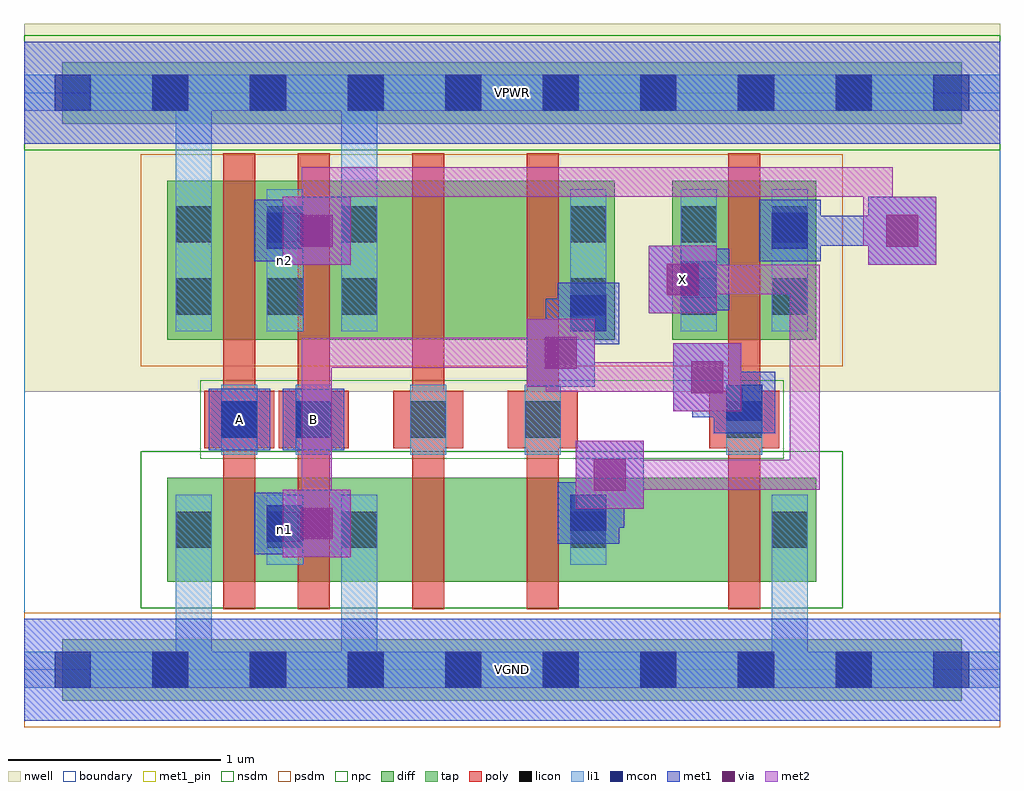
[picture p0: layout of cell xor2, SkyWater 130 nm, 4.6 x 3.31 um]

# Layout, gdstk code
import gdstk
lib = gdstk.Library(unit=1e-6, precision=1e-09)
def R(c, l, rs):  # rectangles x0, y0, x1, y1
    for r in rs: c.add(gdstk.rectangle(r[:2], r[2:], *l))
def A(c, l, x, y, w, h, nx, ny, dx, dy):  # array of equal rectangles
    R(c, l, [(x+i*dx, y+j*dy, x+i*dx+w, y+j*dy+h) for i in range(nx) for j in range(ny)])
nwell = (64, 20)
diff = (65, 20)
tap = (65, 44)
poly = (66, 20)
licon = (66, 44)
li1 = (67, 20)
mcon = (67, 44)
met1_pin = (68, 16)
met1 = (68, 20)
via = (68, 44)
met2 = (69, 20)
nsdm = (93, 44)
psdm = (94, 20)
npc = (95, 20)
boundary = (235, 4)

xor2 = lib.new_cell('xor2')
R(xor2, nwell, [(0,1.31,4.6,3.045)])
R(xor2, diff, [(0.675,0.415,3.735,0.905), (0.675,1.555,2.785,2.305), (3.055,1.555,3.735,2.305)])
R(xor2, tap, [(0.18,-0.145,4.42,0.145), (0.18,2.575,4.42,2.865)])
A(xor2, poly, 1.29, 0.285, 0.15, 2.15, 3, 1, 0.54, 0)
A(xor2, poly, 1.2, 1.045, 0.33, 0.27, 3, 1, 0.54, 0)
R(xor2, poly, [(0.94,0.285,1.09,2.435), (3.32,0.285,3.47,2.435), (0.85,1.045,1.18,1.315), (3.23,1.045,3.56,1.315)])
A(xor2, licon, 0.605, -0.085, 0.17, 0.17, 8, 2, 0.46, 2.72)
A(xor2, licon, 1.28, 1.095, 0.17, 0.17, 3, 1, 0.54, 0)
R(xor2, licon, [(0.715,0.575,0.885,0.745), (1.145,0.575,1.315,0.745), (1.495,0.575,1.665,0.745), (2.575,0.575,2.745,0.745), (3.525,0.575,3.695,0.745), (0.93,1.095,1.1,1.265), (3.31,1.095,3.48,1.265), (0.715,1.675,0.885,1.845), (1.145,1.675,1.315,1.845), (1.495,1.675,1.665,1.845), (2.575,1.675,2.745,1.845), (3.095,1.675,3.265,1.845), (3.525,1.675,3.695,1.845), (0.715,2.015,0.885,2.185), (1.145,2.015,1.315,2.185), (1.495,2.015,1.665,2.185), (2.575,2.015,2.745,2.185), (3.095,2.015,3.265,2.185), (3.525,2.015,3.695,2.185)])
A(xor2, li1, 1.28, 1.015, 0.17, 0.33, 3, 1, 0.54, 0)
R(xor2, li1, [(0,-0.085,4.6,0.085), (0.715,-0.085,0.885,0.825), (1.495,-0.085,1.665,0.825), (3.525,-0.085,3.695,0.825), (0.715,0.495,0.885,0.825), (1.145,0.495,1.315,0.825), (1.495,0.495,1.665,0.825), (2.575,0.495,2.745,0.825), (3.525,0.495,3.695,0.825), (0.93,1.015,1.1,1.345), (3.31,1.015,3.48,1.345), (0.715,1.595,0.885,2.265), (0.715,1.595,0.885,2.805), (1.145,1.595,1.315,2.265), (1.495,1.595,1.665,2.265), (1.495,1.595,1.665,2.805), (2.575,1.595,2.745,2.265), (3.095,1.595,3.265,2.265), (3.525,1.595,3.695,2.265), (0,2.635,4.6,2.805)])
A(xor2, mcon, 0.145, -0.085, 0.17, 0.17, 10, 2, 0.46, 2.72)
R(xor2, mcon, [(1.145,0.605,1.315,0.775), (2.575,0.655,2.745,0.825), (0.93,1.095,1.1,1.265), (1.28,1.095,1.45,1.265), (3.31,1.175,3.48,1.345), (2.575,1.595,2.745,1.765), (3.095,1.755,3.265,1.925), (1.145,1.985,1.315,2.155), (3.525,1.985,3.695,2.155)])
R(xor2, met1_pin, [(0,-0.24,4.6,0.24), (0.87,1.035,1.16,1.325), (1.22,1.035,1.51,1.325), (2.945,1.68,3.265,2), (0,2.48,4.6,2.96)])
R(xor2, met1, [(0,-0.24,4.6,0.24), (1.22,0.53,1.54,0.85), (1.085,0.545,1.375,0.835), (2.515,0.595,2.805,0.885), (1.16,0.62,1.45,0.76), (2.59,0.67,2.83,0.81), (2.69,0.67,2.83,0.99), (2.6,0.76,2.92,1.08), (0.87,1.035,1.16,1.325), (1.22,1.035,1.51,1.325), (3.25,1.115,3.54,1.405), (3.15,1.19,3.465,1.33), (3.15,1.19,3.29,1.45), (3.06,1.22,3.38,1.54), (2.37,1.335,2.69,1.655), (2.46,1.425,2.6,1.75), (2.515,1.535,2.805,1.825), (2.46,1.61,2.73,1.75), (2.945,1.68,3.265,2), (3.035,1.695,3.325,1.985), (3.035,1.77,3.25,1.91), (1.22,1.91,1.54,2.23), (3.98,1.91,4.3,2.23), (1.085,1.925,1.375,2.215), (3.465,1.925,3.755,2.215), (1.16,2,1.45,2.14), (3.54,2,3.865,2.14), (3.725,2,4.21,2.14), (0,2.48,4.6,2.96)])
R(xor2, via, [(1.305,0.615,1.455,0.765), (2.685,0.845,2.835,0.995), (3.145,1.305,3.295,1.455), (2.455,1.42,2.605,1.57), (3.03,1.765,3.18,1.915), (1.305,1.995,1.455,2.145), (4.065,1.995,4.215,2.145)])
R(xor2, met2, [(1.22,0.53,1.54,0.85), (1.31,0.62,1.45,1.565), (2.6,0.76,2.92,1.08), (2.69,0.85,3.75,0.99), (3.61,0.85,3.75,1.91), (3.06,1.22,3.38,1.54), (2.46,1.31,2.6,1.565), (2.46,1.31,3.29,1.45), (2.37,1.335,2.69,1.655), (1.31,1.425,2.6,1.565), (2.945,1.68,3.265,2), (3.035,1.77,3.75,1.91), (1.22,1.91,1.54,2.23), (3.98,1.91,4.3,2.23), (1.31,2,1.45,2.37), (3.955,2,4.21,2.14), (3.955,2,4.095,2.37), (1.31,2.23,4.095,2.37)])
R(xor2, nsdm, [(0.55,0.29,3.86,1.03), (0,2.45,4.6,2.99)])
R(xor2, psdm, [(0,-0.27,4.6,0.27), (0.55,1.43,3.86,2.43)])
R(xor2, npc, [(0.83,0.995,3.58,1.365)])
R(xor2, boundary, [(0,0,4.6,2.72)])
xor2.add(gdstk.Label('n1', (1.23,0.66), layer=67, texttype=5))
xor2.add(gdstk.Label('n2', (1.23,1.93), layer=67, texttype=5))
xor2.add(gdstk.Label('A', (1.015,1.18), layer=68, texttype=5))
xor2.add(gdstk.Label('B', (1.365,1.18), layer=68, texttype=5))
xor2.add(gdstk.Label('X', (3.105,1.84), layer=68, texttype=5))
xor2.add(gdstk.Label('VPWR', (2.3,2.72), layer=68, texttype=5))
xor2.add(gdstk.Label('VGND', (2.3,0), layer=68, texttype=5))
xor2.add(gdstk.Label('A', (1.015,1.18), layer=68, texttype=16))
xor2.add(gdstk.Label('B', (1.365,1.18), layer=68, texttype=16))
xor2.add(gdstk.Label('X', (3.105,1.84), layer=68, texttype=16))
xor2.add(gdstk.Label('VPWR', (2.3,2.72), layer=68, texttype=16))
xor2.add(gdstk.Label('VGND', (2.3,0), layer=68, texttype=16))

lib.write_gds('xor2.gds')
